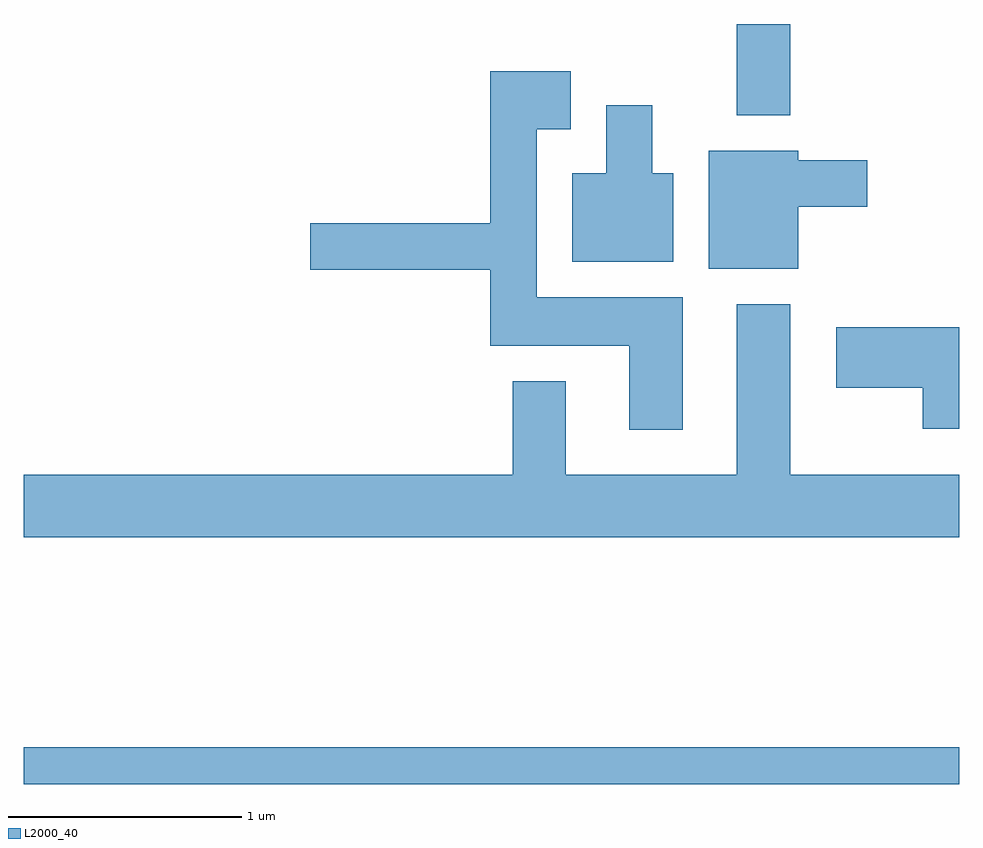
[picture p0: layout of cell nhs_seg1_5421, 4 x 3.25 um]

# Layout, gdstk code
import gdstk
lib = gdstk.Library(unit=1e-6, precision=1e-09)
def R(c, l, rs):  # rectangles x0, y0, x1, y1
    for r in rs: c.add(gdstk.rectangle(r[:2], r[2:], *l))
def P(c, l, *ps):  # polygons
    for p in ps: c.add(gdstk.Polygon(p, *l))
L2000_40 = (2000, 40)

nhs_seg1_5421 = lib.new_cell('nhs_seg1_5421')
R(nhs_seg1_5421, L2000_40, [(347.611,958.461,351.611,958.619), (350.661,961.321,350.889,961.712)])
P(nhs_seg1_5421, L2000_40, [(350.429,960.544),(349.804,960.544),(349.804,961.261),(349.949,961.261),(349.949,961.509),(349.606,961.509),(349.606,960.859),(348.836,960.859),(348.836,960.661),(349.606,960.661),(349.606,960.336),(350.201,960.336),(350.201,959.976),(350.429,959.976)],
  [(350.389,961.074),(350.299,961.074),(350.299,961.364),(350.101,961.364),(350.101,961.074),(349.956,961.074),(349.956,960.696),(350.389,960.696)],
  [(350.924,960.931),(351.219,960.931),(351.219,961.129),(350.924,961.129),(350.924,961.169),(350.541,961.169),(350.541,960.666),(350.924,960.666)],
  [(351.611,959.784),(350.889,959.784),(350.889,960.514),(350.661,960.514),(350.661,959.784),(349.929,959.784),(349.929,960.184),(349.701,960.184),(349.701,959.784),(347.611,959.784),(347.611,959.516),(351.611,959.516)],
  [(351.611,960.414),(351.086,960.414),(351.086,960.156),(351.456,960.156),(351.456,959.981),(351.611,959.981)])

lib.write_gds('nhs_seg1_5421.gds')
